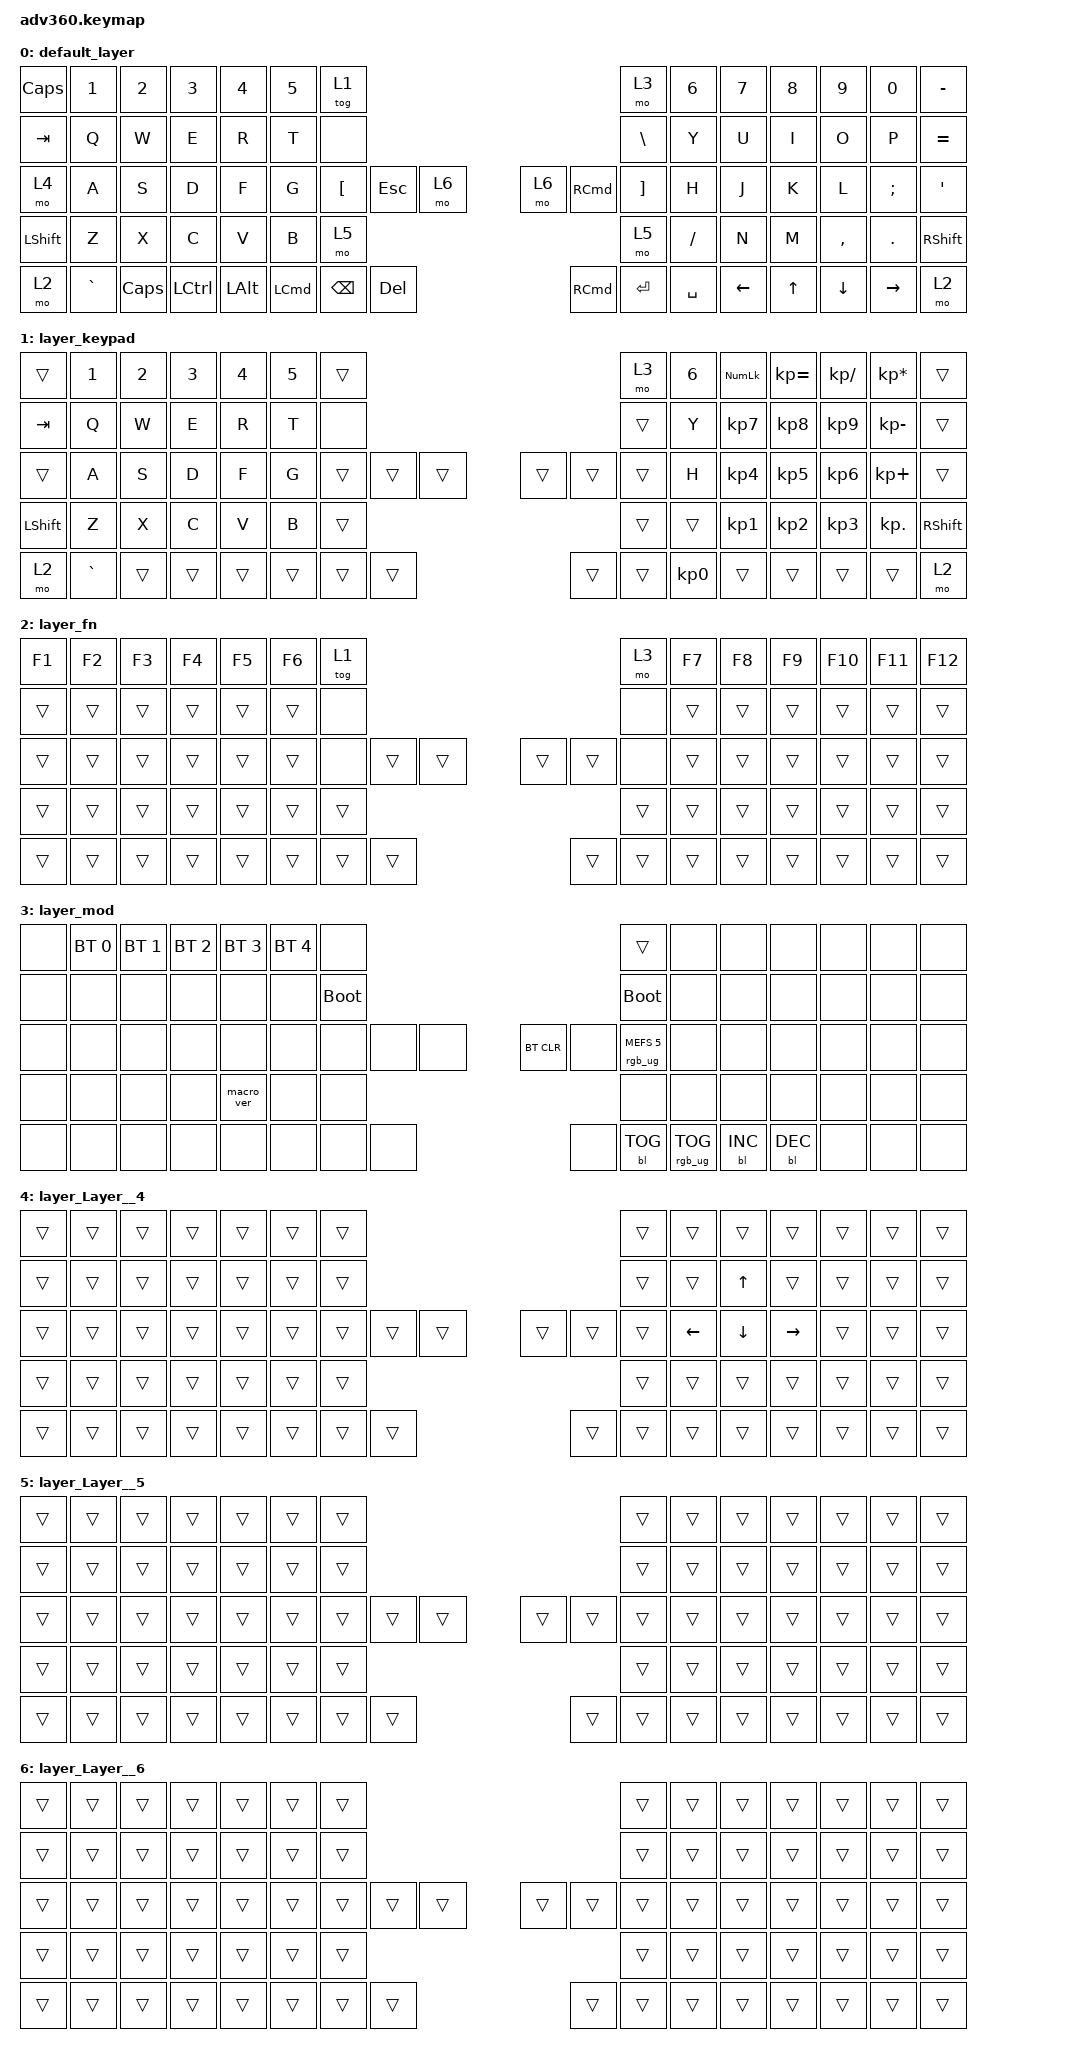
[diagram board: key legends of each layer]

/*
 * Copyright (c) 2020 The ZMK Contributors
 *
 * SPDX-License-Identifier: MIT
 */


/* THIS FILE WAS GENERATED!
 *
 * This file was generated automatically. You may or may not want to
 * edit it directly.
 */

#include <behaviors.dtsi>
#include <dt-bindings/zmk/keys.h>
#include <dt-bindings/zmk/bt.h>
#include <dt-bindings/zmk/rgb.h>
#include <dt-bindings/zmk/backlight.h>

/ {
  behaviors {
    #include "macros.dtsi"
    #include "version.dtsi"

    hm: homerow_mods {
        compatible = "zmk,behavior-hold-tap";
        label = "HOMEROW_MODS";
        #binding-cells = <2>;
        tapping-term-ms = <200>;
        quick_tap_ms = <175>;
        flavor = "tap-preferred";
        bindings = <&kp>, <&kp>;
    };
  };

    keymap {
        compatible = "zmk,keymap";


        default_layer {
            bindings = <
  &kp CAPS     &kp N1    &kp N2            &kp N3        &kp N4  &kp N5                      &tog 1                                                                                    &mo 3     &kp N6    &kp N7  &kp N8     &kp N9     &kp N0  &kp MINUS
   &kp TAB      &kp Q     &kp W             &kp E         &kp R   &kp T                       &none                                                                                 &kp BSLH      &kp Y     &kp U   &kp I      &kp O      &kp P  &kp EQUAL
     &mo 4      &kp A     &kp S             &kp D         &kp F   &kp G                    &kp LBKT        &kp ESC    &mo 6                              &mo 6  &kp RIGHT_COMMAND   &kp RBKT      &kp H     &kp J   &kp K      &kp L   &kp SEMI    &kp SQT
 &kp LSHFT      &kp Z     &kp X             &kp C         &kp V   &kp B                                               &mo 5                              &mo 5                                &kp SLASH     &kp N   &kp M  &kp COMMA    &kp DOT  &kp RSHFT
     &mo 2  &kp GRAVE  &kp CAPS  &kp LEFT_CONTROL  &kp LEFT_ALT                    &kp LEFT_COMMAND  &kp BACKSPACE  &kp DEL                  &kp RIGHT_COMMAND          &kp ENTER  &kp SPACE             &kp LEFT  &kp UP   &kp DOWN  &kp RIGHT      &mo 2
            >;
        };

        layer_keypad {
            bindings = <
    &trans     &kp N1  &kp N2  &kp N3  &kp N4  &kp N5            &trans                                                      &mo 3  &kp N6  &kp KP_NUM  &kp KP_EQUAL  &kp KP_DIVIDE  &kp KP_MULTIPLY     &trans
   &kp TAB      &kp Q   &kp W   &kp E   &kp R   &kp T             &none                                                     &trans   &kp Y   &kp KP_N7     &kp KP_N8      &kp KP_N9     &kp KP_MINUS     &trans
    &trans      &kp A   &kp S   &kp D   &kp F   &kp G            &trans  &trans  &trans                  &trans  &trans     &trans   &kp H   &kp KP_N4     &kp KP_N5      &kp KP_N6      &kp KP_PLUS     &trans
 &kp LSHFT      &kp Z   &kp X   &kp C   &kp V   &kp B                            &trans                  &trans                     &trans   &kp KP_N1     &kp KP_N2      &kp KP_N3       &kp KP_DOT  &kp RSHFT
     &mo 2  &kp GRAVE  &trans  &trans  &trans                    &trans  &trans  &trans                  &trans  &trans  &kp KP_N0              &trans        &trans         &trans           &trans      &mo 2
            >;
        };

        layer_fn {
            bindings = <
 &kp F1  &kp F2  &kp F3  &kp F4  &kp F5  &kp F6            &tog 1                                                   &mo 3  &kp F7  &kp F8  &kp F9  &kp F10  &kp F11  &kp F12
 &trans  &trans  &trans  &trans  &trans  &trans             &none                                                   &none  &trans  &trans  &trans   &trans   &trans   &trans
 &trans  &trans  &trans  &trans  &trans  &trans             &none  &trans  &trans                  &trans  &trans   &none  &trans  &trans  &trans   &trans   &trans   &trans
 &trans  &trans  &trans  &trans  &trans  &trans                            &trans                  &trans                  &trans  &trans  &trans   &trans   &trans   &trans
 &trans  &trans  &trans  &trans  &trans                    &trans  &trans  &trans                  &trans  &trans  &trans          &trans  &trans   &trans   &trans   &trans
            >;
        };

        layer_mod {
            bindings = <
  &none  &bt BT_SEL 0  &bt BT_SEL 1  &bt BT_SEL 2  &bt BT_SEL 3  &bt BT_SEL 4                  &none                                                                          &trans   &none       &none       &none   &none   &none   &none
  &none         &none         &none         &none         &none         &none            &bootloader                                                                     &bootloader   &none       &none       &none   &none   &none   &none
  &none         &none         &none         &none         &none         &none                  &none   &none   &none                  &bt BT_CLR       &none  &rgb_ug RGB_MEFS_CMD 5   &none       &none       &none   &none   &none   &none
  &none         &none         &none         &none    &macro_ver         &none                                  &none                       &none                                       &none       &none       &none   &none   &none   &none
  &none         &none         &none         &none         &none                                &none   &none   &none                       &none  &bl BL_TOG         &rgb_ug RGB_TOG          &bl BL_INC  &bl BL_DEC   &none   &none   &none
            >;
        };

        layer_Layer__4 {
            bindings = <
 &trans  &trans  &trans  &trans  &trans  &trans            &trans                                                  &trans    &trans    &trans     &trans  &trans  &trans  &trans
 &trans  &trans  &trans  &trans  &trans  &trans            &trans                                                  &trans    &trans    &kp UP     &trans  &trans  &trans  &trans
 &trans  &trans  &trans  &trans  &trans  &trans            &trans  &trans  &trans                  &trans  &trans  &trans  &kp LEFT  &kp DOWN  &kp RIGHT  &trans  &trans  &trans
 &trans  &trans  &trans  &trans  &trans  &trans                            &trans                  &trans                    &trans    &trans     &trans  &trans  &trans  &trans
 &trans  &trans  &trans  &trans  &trans                    &trans  &trans  &trans                  &trans  &trans  &trans              &trans     &trans  &trans  &trans  &trans
            >;
        };

        layer_Layer__5 {
            bindings = <
 &trans  &trans  &trans  &trans  &trans  &trans            &trans                                                  &trans  &trans  &trans  &trans  &trans  &trans  &trans
 &trans  &trans  &trans  &trans  &trans  &trans            &trans                                                  &trans  &trans  &trans  &trans  &trans  &trans  &trans
 &trans  &trans  &trans  &trans  &trans  &trans            &trans  &trans  &trans                  &trans  &trans  &trans  &trans  &trans  &trans  &trans  &trans  &trans
 &trans  &trans  &trans  &trans  &trans  &trans                            &trans                  &trans                  &trans  &trans  &trans  &trans  &trans  &trans
 &trans  &trans  &trans  &trans  &trans                    &trans  &trans  &trans                  &trans  &trans  &trans          &trans  &trans  &trans  &trans  &trans
            >;
        };

        layer_Layer__6 {
            bindings = <
 &trans  &trans  &trans  &trans  &trans  &trans            &trans                                                  &trans  &trans  &trans  &trans  &trans  &trans  &trans
 &trans  &trans  &trans  &trans  &trans  &trans            &trans                                                  &trans  &trans  &trans  &trans  &trans  &trans  &trans
 &trans  &trans  &trans  &trans  &trans  &trans            &trans  &trans  &trans                  &trans  &trans  &trans  &trans  &trans  &trans  &trans  &trans  &trans
 &trans  &trans  &trans  &trans  &trans  &trans                            &trans                  &trans                  &trans  &trans  &trans  &trans  &trans  &trans
 &trans  &trans  &trans  &trans  &trans                    &trans  &trans  &trans                  &trans  &trans  &trans          &trans  &trans  &trans  &trans  &trans
            >;
        };

    };
};
